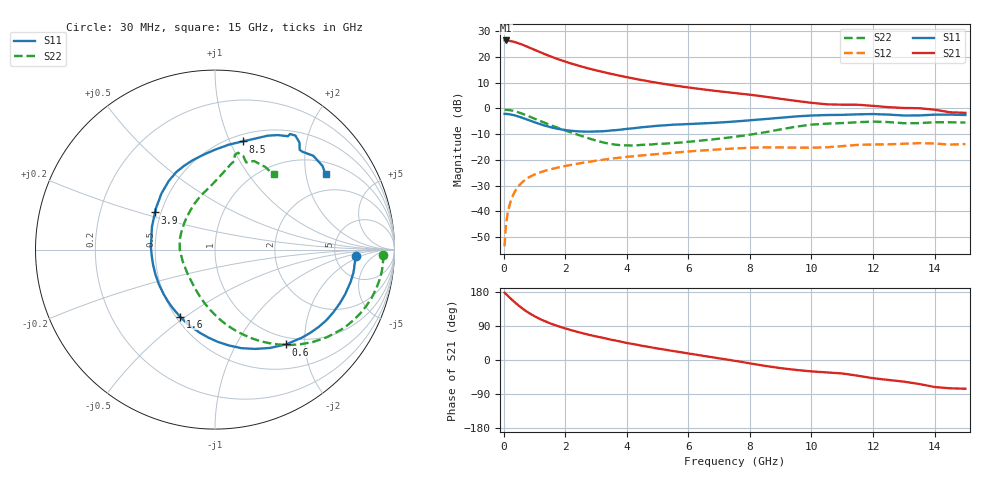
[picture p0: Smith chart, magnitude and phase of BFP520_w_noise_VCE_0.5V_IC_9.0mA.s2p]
! Infineon Technologies  Discrete & RF Semiconductors
! BFP520
! VCE =  0.5 V,  IC =  9.0 mA
! Common Emitter S-Parameters:  Oct 2015
# GHz  S  MA  R  50
!  f  S11  S21  S12  S22
! GHz  MAG  ANG  MAG  ANG  MAG  ANG  MAG  ANG
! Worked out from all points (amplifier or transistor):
!   109 points, 30 MHz to 15 GHz, reference 50 ohm
!   highest |S21| = 26.4 dB at 70 MHz (marker M1)
!   |S21| within 3 dB of that: start of sweep to 879.5 MHz
!   unconditionally stable (mu >= 1): 3.161 GHz to end of sweep
!   at 450 MHz: K = 0.23, MSG = 28.1 dB, |S12| = -30.7 dB
!   at 4 GHz: K = 1.10, MAG = 13.6 dB, |S12| = -18.8 dB
!   at 15 GHz: K = 1.33, MAG = 2.6 dB, |S12| = -13.9 dB
!   lowest NFmin = 1.47 dB at 900 MHz
!   S11 on the Smith chart (normalised r, x): 30 MHz: 7.97, -1.59; 600 MHz: 0.88, -1.64; 1.6 GHz: 0.53, -0.48; 3.9 GHz: 0.46, +0.23; 8.5 GHz: 0.57, +1.12; 15 GHz: 1.37, +2.59
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0.03  0.7847 -2.8  20.95 177.8  0.0021 90.7  0.9357 -1.7
0.07  0.7811 -6.6  20.97 174.3  0.005 86.6  0.9385 -4.5
0.2  0.7668 -18.9  20.55 164.3  0.0138 80.4  0.9245 -13.5
0.35  0.7347 -32.4  19.59 153.1  0.0234 73.8  0.8851 -23.5
0.45  0.7056 -40.9  18.76 146.1  0.0291 69.7  0.8507 -29.6
0.6  0.6598 -53.2  17.43 136.4  0.0366 64.4  0.7919 -38.1
0.7  0.6273 -60.9  16.47 130.5  0.0411 61.2  0.7504 -43.3
0.8  0.5964 -68.1  15.54 125.2  0.045 58.5  0.7101 -48.0
1  0.5395 -81.8  13.83 115.6  0.0518 54.0  0.6337 -56.5
1.1  0.5145 -88.2  13.04 111.4  0.0548 52.2  0.599 -60.3
1.3  0.4707 -100.4  11.63 103.8  0.0602 49.0  0.536 -67.4
1.6  0.4209 -117.6  9.879 94.0  0.0673 45.3  0.4553 -77.0
2  0.38 -138.2  8.146 83.3  0.076 41.5  0.3733 -88.5
2.6  0.3552 -166.1  6.35 69.9  0.0883 36.8  0.2821 -106.0
3  0.3573 177.9  5.502 62.2  0.0963 33.7  0.2376 -119.3
3.9  0.3933 148.2  4.17 46.8  0.1126 26.3  0.1917 -156.0
5.1  0.4643 122.6  3.073 29.1  0.1314 17.1  0.2054 161.3
7.6  0.5625 88.4  1.964 -3.3  0.1677 -3.9  0.286 112.0
8.5  0.622 75.7  1.69 -15.6  0.1748 -13.0  0.3446 95.9
10.5  0.7445 58.3  1.202 -32.8  0.1755 -24.7  0.5064 77.6
13  0.7291 49.7  1.021 -57.1  0.2058 -44.4  0.5164 70.4
15  0.7453 34.3  0.821 -75.8  0.2029 -60.1  0.5307 52.1
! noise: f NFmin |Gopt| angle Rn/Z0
0.45  1.49  0.33  1  0.29
0.9  1.47  0.29  6  0.31
1.9  1.67  0.27  15  0.26
2.4  1.67  0.23  26  0.27
3.5  1.61  0.21  49  0.26
